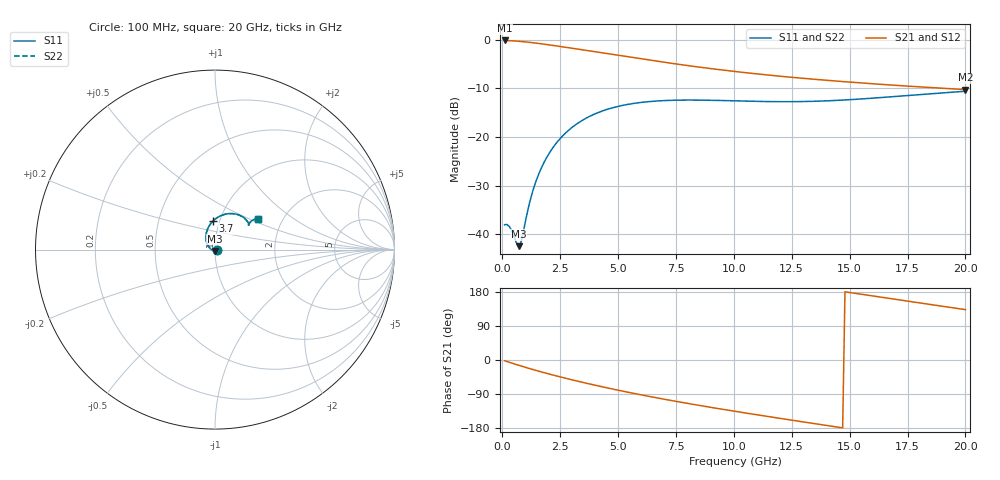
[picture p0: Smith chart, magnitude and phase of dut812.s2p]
! Touchstone file exported from HFSS 2024.1.0
!  File:  C:/UserFiles/LocalFiles/RDL_TSV_Batchsim/temp_RDL_TSV_812_1779913170.aedt
!  Generated:  04:34:34 AM May 28, 2026
!  Design:  RDL_TSV
!  Project:  temp_RDL_TSV_812_1779913170
!  Setup:  Setup1
!  Solution:  Sweep
! Variables:
!  dtsv = 10.39um
!  hbump = 3um
!  htsv = 76.67um
!  ldown = 312.71um
!  lrdl = 601.03um
!  p = 40
!  p1 = 53.39um
!  rhole = 10um
!  subl = 3342.25um
!  t = 450um
!  tdown = 4.8um
!  trdl = 3.29um
!  viad = 10um
!  wdown = 23.81um
!  wrdl = 29.82um
!  xbump = 18um
# GHz S MA R 50.000000
! Terminal data exported
! Port[1] = TM1_1_T1
! Port[2] = TM1_4_T1
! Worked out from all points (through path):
!   200 points, 100 MHz to 20 GHz, reference 50 ohm
!   highest |S21| = -0.12 dB at 100 MHz (marker M1); lowest = -10.2 dB at 20 GHz (marker M2)
!   group delay of S21, straight-line fit = 29.7 ps
!   lowest |S11| = -42.4 dB at 700 MHz (marker M3), VSWR 1.02, Z = 50 - j0.755 ohm
!   |S11| at or under -10 dB: start of sweep to end of sweep
!   |S22| runs from -42.4 to -10.6 dB; largest |S21 - S12| = 1.9e-14
!   S11 on the Smith chart (normalised r, x): 100 MHz: 1.03, -0.00; 3.7 GHz: 0.93, +0.31; 20 GHz: 1.51, +0.57
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0.1  0.01255 -3.6  0.9868 -2.1  0.9868 -2.1  0.01255 -3.6
! Gamma 0 0 0 0
! Port Impedance 50 0 50 0
0.3  0.01208 -19.3  0.9824 -6.0  0.9824 -6.0  0.01209 -19.4
0.7  0.007551 -90.9  0.9686 -13.8  0.9686 -13.8  0.007567 -90.7
0.8  0.008186 -120.8  0.9641 -15.7  0.9641 -15.7  0.00819 -120.5
1.1  0.01762 -175.0  0.9485 -21.2  0.9485 -21.2  0.01757 -174.9
1.3  0.02699 168.4  0.9366 -24.8  0.9366 -24.8  0.02691 168.5
1.5  0.03755 156.8  0.924 -28.3  0.924 -28.3  0.03744 156.9
1.8  0.05471 143.6  0.904 -33.4  0.904 -33.4  0.05456 143.7
2.1  0.07265 133.0  0.8835 -38.3  0.8835 -38.3  0.07245 133.0
2.5  0.09663 121.0  0.8558 -44.6  0.8558 -44.6  0.09636 121.1
3  0.1252 108.4  0.8216 -52.2  0.8216 -52.2  0.1248 108.5
3.5  0.1509 97.7  0.7883 -59.5  0.7883 -59.5  0.1505 97.7
3.7  0.1603 93.8  0.7752 -62.3  0.7752 -62.3  0.1598 93.8
5  0.207 73.1  0.6944 -79.7  0.6944 -79.7  0.2063 73.1
5.9  0.2259 62.3  0.6436 -90.8  0.6436 -90.8  0.2252 62.3
6.8  0.2362 53.8  0.5977 -101.3  0.5977 -101.3  0.2354 53.8
8.4  0.2404 43.3  0.5288 -118.7  0.5288 -118.7  0.2396 43.4
10.1  0.2358 37.5  0.4716 -135.9  0.4716 -135.9  0.235 37.7
11.7  0.2317 35.8  0.4298 -151.3  0.4298 -151.3  0.231 36.0
13.4  0.2334 36.4  0.3947 -167.2  0.3947 -167.2  0.2329 36.6
16.7  0.2589 38.0  0.3445 162.6  0.3445 162.6  0.259 38.2
20  0.2961 35.4  0.3083 132.9  0.3083 132.9  0.2966 35.6
